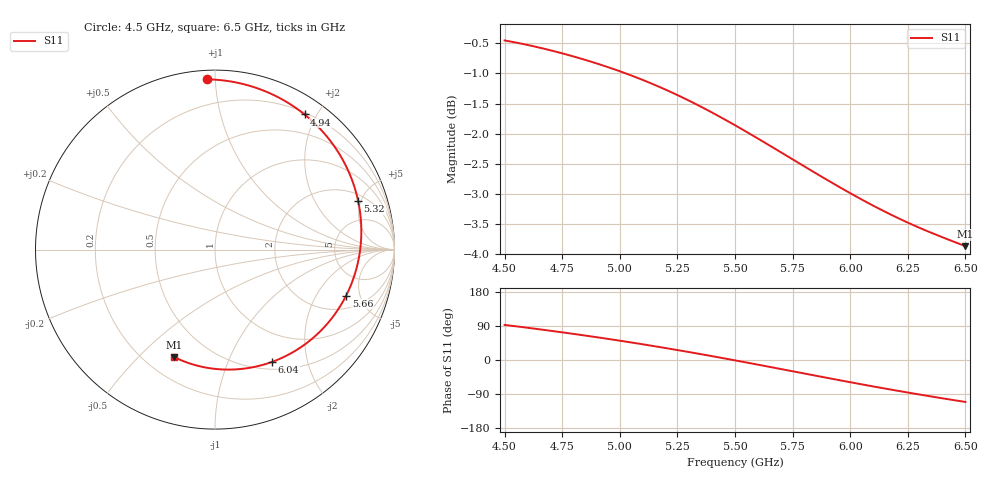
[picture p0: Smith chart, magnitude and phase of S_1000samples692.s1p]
! TOUCHSTONE file generated by CST MICROWAVE STUDIO
! Date and time: Sat Oct 29 01:20:44 2022
! Project name: L.cst
! Parameters = {Di=1.27; Epsilon_r=1.56; InnerDiameter=1.27; Length=2; Lf=10; Lg=60; OuterConductorThickness=0.2921; OuterDiameter=3.6; Wf=3; Wp=41.2; de=1.5; df=6.8; g=0.8; gx=3.14153; gy=3.79529; h=2.34; hf=1.524; px=11.4801; py=10.1708; w=9.7; wx=8.33857; wy=6.37551}
! Header version: 2018
! Port assignment regex: !\s*Touchstone port\s*([0-9]+)\s*=\s*(CST MWS port|CST DS port)\s*([0-9]+|Zmin|Zmax)\s*\(\"(.*)\"\)(\s*mode\s*([0-9]+))?.*
! Touchstone port assignment:
! Touchstone port 1 = CST MWS port 1 ("")
# GHz S DB R 50
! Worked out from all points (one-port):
!   101 points, 4.5 GHz to 6.5 GHz, reference 50 ohm
!   lowest |S11| = -3.9 dB at 6.5 GHz (marker M1), VSWR 4.56, Z = 15.8 - j32.2 ohm
!   |S11| at or under -10 dB: nowhere
!   S11 on the Smith chart (normalised r, x): 4.5 GHz: 0.05, +0.95; 4.94 GHz: 0.23, +1.84; 5.32 GHz: 2.52, +4.73; 5.66 GHz: 2.91, -3.71; 6.04 GHz: 0.59, -1.46; 6.5 GHz: 0.32, -0.64
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4.5  -0.45 92.6
4.58  -0.51 86.6
4.64  -0.56 81.9
4.76  -0.68 72.1
4.86  -0.79 63.6
4.94  -0.88 56.5
5  -0.96 51.0
5.06  -1.05 45.3
5.14  -1.17 37.4
5.2  -1.27 31.4
5.26  -1.38 25.2
5.32  -1.49 18.8
5.38  -1.61 12.4
5.42  -1.69 8.0
5.5  -1.86 -1.0
5.58  -2.04 -10.1
5.66  -2.22 -19.3
5.76  -2.45 -30.9
5.82  -2.59 -37.9
5.88  -2.73 -44.8
5.94  -2.86 -51.7
6  -2.99 -58.6
6.04  -3.08 -63.1
6.14  -3.28 -74.1
6.2  -3.39 -80.6
6.26  -3.50 -86.9
6.38  -3.69 -99.1
6.5  -3.87 -110.6
